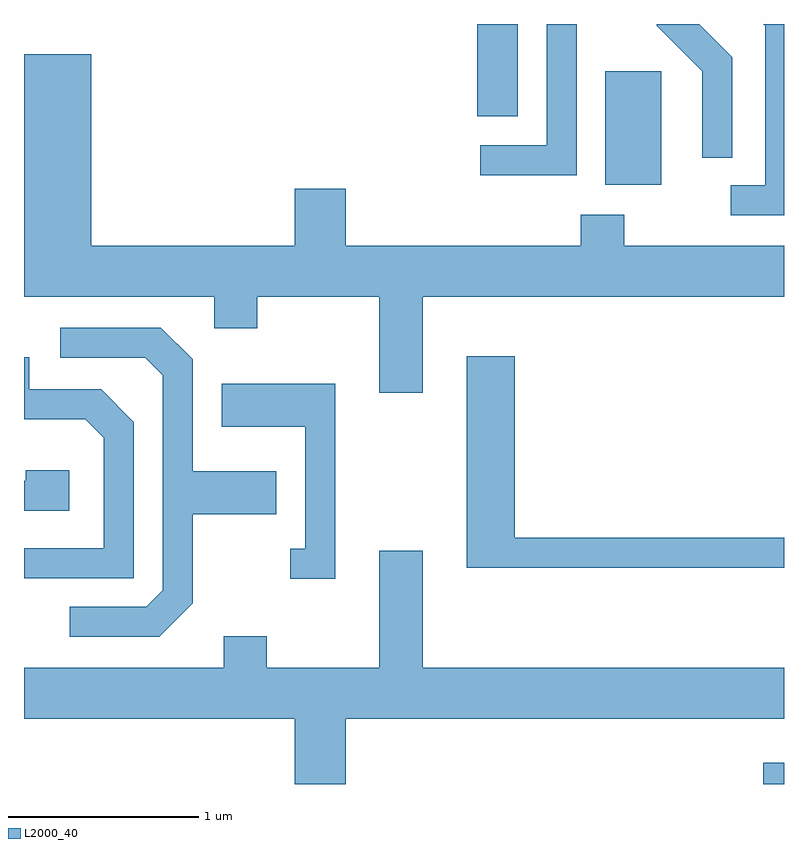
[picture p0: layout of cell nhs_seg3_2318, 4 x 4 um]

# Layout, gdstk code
import gdstk
lib = gdstk.Library(unit=1e-6, precision=1e-09)
def R(c, l, rs):  # rectangles x0, y0, x1, y1
    for r in rs: c.add(gdstk.rectangle(r[:2], r[2:], *l))
def P(c, l, *ps):  # polygons
    for p in ps: c.add(gdstk.Polygon(p, *l))
L2000_40 = (2000, 40)

nhs_seg3_2318 = lib.new_cell('nhs_seg3_2318')
R(nhs_seg3_2318, L2000_40, [(257.501,1127.892,257.611,1128.004), (256.671,1131.046,256.964,1131.644), (255.996,1131.406,256.209,1131.892)])
P(nhs_seg3_2318, L2000_40, [(257.339,1131.717),(257.164,1131.892),(256.941,1131.892),(256.941,1131.884),(257.181,1131.644),(257.181,1131.188),(257.339,1131.188)],
  [(256.519,1131.892),(256.361,1131.892),(256.361,1131.254),(256.013,1131.254),(256.013,1131.096),(256.519,1131.096)],
  [(257.611,1131.892),(257.503,1131.892),(257.511,1131.884),(257.511,1131.044),(257.332,1131.044),(257.332,1130.886),(257.611,1130.886)],
  [(255.709,1130.456),(257.611,1130.456),(257.611,1130.724),(256.769,1130.724),(256.769,1130.889),(256.541,1130.889),(256.541,1130.724),(255.304,1130.724),(255.304,1131.024),(255.036,1131.024),(255.036,1130.724),(253.964,1130.724),(253.964,1131.734),(253.611,1131.734),(253.611,1130.456),(254.611,1130.456),(254.611,1130.291),(254.839,1130.291),(254.839,1130.456),(255.481,1130.456),(255.481,1129.951),(255.709,1129.951)],
  [(254.499,1128.844),(254.499,1129.311),(254.939,1129.311),(254.939,1129.539),(254.499,1129.539),(254.499,1130.127),(254.332,1130.294),(253.803,1130.294),(253.803,1130.136),(254.249,1130.136),(254.341,1130.044),(254.341,1128.912),(254.254,1128.824),(253.853,1128.824),(253.853,1128.666),(254.322,1128.666)],
  [(257.611,1129.189),(256.194,1129.189),(256.194,1130.144),(255.941,1130.144),(255.941,1129.031),(257.611,1129.031)],
  [(254.189,1129.797),(254.017,1129.969),(253.639,1129.969),(253.639,1130.139),(253.611,1130.139),(253.611,1129.811),(253.934,1129.811),(254.031,1129.714),(254.031,1129.134),(253.611,1129.134),(253.611,1128.976),(254.189,1128.976)],
  [(255.249,1129.999),(254.651,1129.999),(254.651,1129.771),(255.091,1129.771),(255.091,1129.129),(255.013,1129.129),(255.013,1128.971),(255.249,1128.971)],
  [(253.849,1129.544),(253.621,1129.544),(253.621,1129.489),(253.611,1129.489),(253.611,1129.331),(253.849,1129.331)],
  [(255.304,1128.236),(257.611,1128.236),(257.611,1128.504),(255.709,1128.504),(255.709,1129.119),(255.481,1129.119),(255.481,1128.504),(254.889,1128.504),(254.889,1128.669),(254.661,1128.669),(254.661,1128.504),(253.611,1128.504),(253.611,1128.236),(255.036,1128.236),(255.036,1127.892),(255.304,1127.892)])

lib.write_gds('nhs_seg3_2318.gds')
